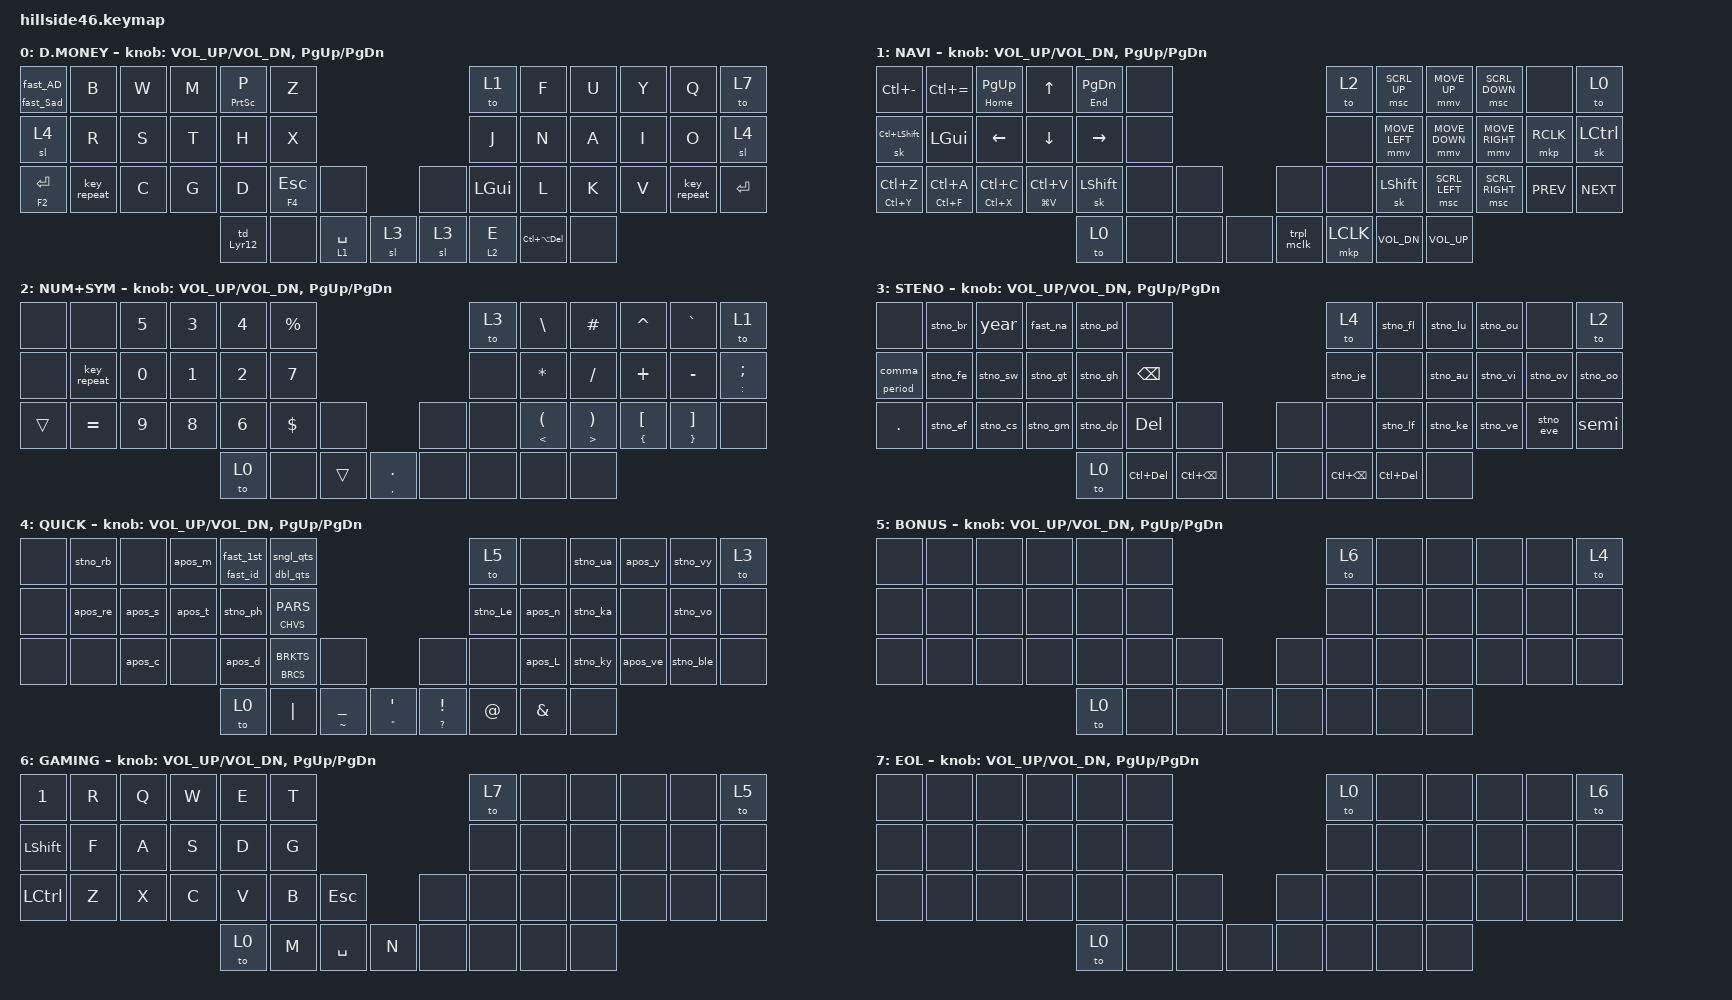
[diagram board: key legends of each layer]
/*
 * Copyright (c) 2021-2022 The ZMK Contributors
 *
 * SPDX-License-Identifier: MIT
 */

#define ZMK_POINTING_DEFAULT_MOVE_VAL 1200  // 600
#define ZMK_POINTING_DEFAULT_SCRL_VAL 25   // 10

#include <behaviors.dtsi>
#include <dt-bindings/zmk/keys.h>
#include <dt-bindings/zmk/pointing.h>

&mt {
    tapping-term-ms = <220>;
    flavor = "tap-preferred";
};

&caps_word { continue-list = <UNDERSCORE BACKSPACE DELETE MINUS N0 N1 N2 N3 N4 N5 N6 N7 N8 N9 PLUS>; };

&lt { tapping-term-ms = <220>; };

/ {
    combos {
        compatible = "zmk,combos";

        L_alt {
            bindings = <&sk LALT>;
            key-positions = <13 14>;
            layers = <0>;
            require-prior-idle-ms = <5>;
        };

        R_alt {
            bindings = <&sk LALT>;
            key-positions = <22 21>;
            layers = <0>;
            require-prior-idle-ms = <5>;
        };

        L_ctrl {
            bindings = <&sk LCTRL>;
            key-positions = <28 27>;
            layers = <0>;
            require-prior-idle-ms = <5>;
        };

        R_ctrl {
            bindings = <&sk LCTRL>;
            key-positions = <33 34>;
            layers = <0>;
            require-prior-idle-ms = <5>;
        };

        L_shft {
            bindings = <&sk LSHFT>;
            key-positions = <39 29>;
            layers = <0>;
            require-prior-idle-ms = <5>;
        };

        R_shft {
            bindings = <&sk LSHFT>;
            key-positions = <44 32>;
            layers = <0>;
            require-prior-idle-ms = <5>;
        };

        caps {
            bindings = <&caps_word>;
            key-positions = <41 42>;
            layers = <0>;
            require-prior-idle-ms = <5>;
        };

        print {
            bindings = <&kp LC(P)>;
            key-positions = <4 5>;
            layers = <0>;
            require-prior-idle-ms = <5>;
        };

        zoom_0 {
            bindings = <&kp LC(N0)>;
            key-positions = <0 1>;
            require-prior-idle-ms = <5>;
            layers = <1>;
        };

        mute {
            bindings = <&kp C_MUTE>;
            key-positions = <45 44>;
            layers = <1>;
            require-prior-idle-ms = <5>;
        };

        L_shft_ent {
            bindings = <&kp LS(ENTER)>;
            key-positions = <24 25>;
            layers = <0>;
            require-prior-idle-ms = <5>;
        };

        R_shft_ent {
            bindings = <&kp LS(ENTER)>;
            key-positions = <36 37>;
            layers = <0>;
            require-prior-idle-ms = <5>;
        };

        play_pause {
            bindings = <&kp C_PLAY_PAUSE>;
            key-positions = <36 37>;
            layers = <1>;
            require-prior-idle-ms = <5>;
        };

        L_bonus {
            bindings = <&sl 5>;
            key-positions = <30 40>;
            layers = <0>;
            require-prior-idle-ms = <5>;
        };

        R_bonus {
            bindings = <&sl 5>;
            key-positions = <43 31>;
            layers = <0>;
            require-prior-idle-ms = <5>;
        };

        dbl_mclk {
            bindings = <&dbl_mclk>;
            key-positions = <31 43>;
            layers = <1>;
            require-prior-idle-ms = <5>;
        };

        tab {
            bindings = <&mt LG(TAB) TAB>;
            key-positions = <1 2>;
            layers = <0>;
            require-prior-idle-ms = <5>;
        };
    };

    behaviors {
        act_dir: act_dir {
            compatible = "zmk,behavior-hold-tap";
            label = "ACT_DIR";
            bindings = <&fast_Sad>, <&fast_AD>;

            #binding-cells = <2>;
            tapping-term-ms = <180>;
            flavor = "tap-preferred";
        };

        id_1st: id_1st {
            compatible = "zmk,behavior-hold-tap";
            label = "ID_1ST";
            bindings = <&fast_id>, <&fast_1st>;

            #binding-cells = <2>;
            tapping-term-ms = <180>;
            flavor = "tap-preferred";
        };

        quotes: quotes {
            compatible = "zmk,behavior-hold-tap";
            label = "QUOTES";
            bindings = <&dbl_qts>, <&sngl_qts>;

            #binding-cells = <2>;
            tapping-term-ms = <179>;
            flavor = "tap-preferred";
        };

        par_chv: par_chv {
            compatible = "zmk,behavior-hold-tap";
            label = "PAR_CHV";
            bindings = <&CHVS>, <&PARS>;

            #binding-cells = <2>;
            tapping-term-ms = <179>;
            flavor = "tap-preferred";
        };

        brk_brc: brk_brc {
            compatible = "zmk,behavior-hold-tap";
            label = "BRK_BRC";
            bindings = <&BRCS>, <&BRKTS>;

            #binding-cells = <2>;
            tapping-term-ms = <180>;
            flavor = "tap-preferred";
        };

        cma_prd: cma_prd {
            compatible = "zmk,behavior-hold-tap";
            label = "CMA_PRD";
            bindings = <&period>, <&comma>;

            #binding-cells = <2>;
            tapping-term-ms = <220>;
            flavor = "tap-preferred";
        };

        td_Lyr12: td_Lyr12 {
            compatible = "zmk,behavior-tap-dance";
            label = "TD_LYR12";
            #binding-cells = <0>;
            bindings = <&to 2>, <&to 1>;
        };
    };

    macros {
        stno_ve: stno_ve {
            compatible = "zmk,behavior-macro";
            #binding-cells = <0>;
            bindings = <&kp V &kp E>;
            label = "STNO_VE";
        };

        stno_ou: stno_ou {
            compatible = "zmk,behavior-macro";
            #binding-cells = <0>;
            bindings = <&kp O &kp U>;
            label = "STNO_OU";
        };

        stno_ov: stno_ov {
            compatible = "zmk,behavior-macro";
            #binding-cells = <0>;
            bindings = <&kp O &kp V>;
            label = "STNO_OV";
        };

        stno_sw: stno_sw {
            compatible = "zmk,behavior-macro";
            #binding-cells = <0>;
            bindings = <&kp S &kp W>;
            label = "STNO_SW";
        };

        stno_cs: stno_cs {
            compatible = "zmk,behavior-macro";
            #binding-cells = <0>;
            bindings = <&kp C &kp S>;
            label = "STNO_CS";
        };

        stno_gm: stno_gm {
            compatible = "zmk,behavior-macro";
            #binding-cells = <0>;
            bindings = <&kp G &kp M>;
            label = "STNO_GM";
        };

        apos_s: apos_s {
            compatible = "zmk,behavior-macro";
            #binding-cells = <0>;
            bindings = <&kp SQT &kp S &kp SPACE>;
            label = "APOS_S";
        };

        apos_t: apos_t {
            compatible = "zmk,behavior-macro";
            #binding-cells = <0>;
            bindings = <&kp SQT &kp T &kp SPACE>;
            label = "APOS_T";
        };

        apos_d: apos_d {
            compatible = "zmk,behavior-macro";
            #binding-cells = <0>;
            bindings = <&kp SQT &kp D &kp SPACE>;
            label = "APOS_D";
        };

        apos_L: apos_L {
            compatible = "zmk,behavior-macro";
            #binding-cells = <0>;
            bindings = <&kp SQT &kp L &kp L &kp SPACE>;
            label = "APOS_L";
        };

        dbl_mclk: dbl_mclk {
            compatible = "zmk,behavior-macro";
            #binding-cells = <0>;
            bindings = <&mkp LCLK &mkp LCLK>;
            label = "DBL_MCLK";
        };

        apos_re: apo_r {
            compatible = "zmk,behavior-macro";
            #binding-cells = <0>;
            bindings = <&kp SQT &kp R &kp E &kp SPACE>;
            label = "APO_R";
        };

        apos_ve: apos_ve {
            compatible = "zmk,behavior-macro";
            #binding-cells = <0>;
            bindings = <&kp SQT &kp V &kp E &kp SPACE>;
            label = "APOS_VE";
        };

        apos_y: apos_y {
            compatible = "zmk,behavior-macro";
            #binding-cells = <0>;
            bindings = <&kp Y &kp SQT>;
            label = "APOS_Y";
        };

        apos_n: apos_n {
            compatible = "zmk,behavior-macro";
            #binding-cells = <0>;
            bindings = <&kp N &kp SQT>;
            label = "APOS_N";
        };

        year: year {
            compatible = "zmk,behavior-macro";
            #binding-cells = <0>;
            bindings = <&kp N2 &kp N0 &kp N2 &kp N6>;
            label = "YEAR";
        };

        fast_AD: fast_AD {
            compatible = "zmk,behavior-macro";
            #binding-cells = <0>;
            bindings = <&kp D &kp E &kp L &kp L &kp O &kp N &kp DOT &kp M &kp O &kp Y>;
            label = "FAST_AD";
        };

        fast_Sad: fast_Sad {
            compatible = "zmk,behavior-macro";
            #binding-cells = <0>;
            bindings = <&kp S &kp DOT &kp D &kp E &kp L &kp L &kp O &kp N &kp DOT &kp M &kp O &kp Y>;
            label = "FAST_SAD";
        };

        fast_1st: fast_1st {
            compatible = "zmk,behavior-macro";
            #binding-cells = <0>;
            bindings = <&kp D &kp E &kp L &kp L &kp O &kp N>;
            label = "FAST_1ST";
        };

        fast_id: fast_id {
            compatible = "zmk,behavior-macro";
            #binding-cells = <0>;
            bindings = <&kp N5 &kp N6 &kp N4 &kp N1 &kp N5 &kp LS(D) &kp LS(M)>;
            label = "FAST_ID";
        };

        apos_c: apos_c {
            compatible = "zmk,behavior-macro";
            #binding-cells = <0>;
            bindings = <&kp C &kp SQT>;
            label = "APOS_C";
        };

        fast_na: fast_na {
            compatible = "zmk,behavior-macro";
            #binding-cells = <0>;
            bindings = <&kp LS(N) &kp FSLH &kp LS(A)>;
            label = "FAST_NA";
        };

        PARS: PARS {
            compatible = "zmk,behavior-macro";
            #binding-cells = <0>;
            bindings = <&kp LPAR &kp RPAR &kp LEFT>;
            label = "PARS";
        };

        CHVS: CHVS {
            compatible = "zmk,behavior-macro";
            #binding-cells = <0>;
            bindings = <&kp LT &kp GT &kp LEFT>;
            label = "CHVS";
        };

        BRKTS: BRKTS {
            compatible = "zmk,behavior-macro";
            #binding-cells = <0>;
            bindings = <&kp LBKT &kp RBKT &kp LEFT>;
            label = "BRKTS";
        };

        BRCS: BRCS {
            compatible = "zmk,behavior-macro";
            #binding-cells = <0>;
            bindings = <&kp LBRC &kp RBRC &kp LEFT>;
            label = "BRCS";
        };

        sngl_qts: sngl_qts {
            compatible = "zmk,behavior-macro";
            #binding-cells = <0>;
            bindings = <&kp SQT &kp SQT &kp LEFT>;
            label = "SNGL_QTS";
        };

        dbl_qts: dbl_qts {
            compatible = "zmk,behavior-macro";
            #binding-cells = <0>;
            bindings = <&kp DQT &kp DQT &kp LEFT>;
            label = "DBL_QTS";
        };

        apos_m: apos_m {
            compatible = "zmk,behavior-macro";
            #binding-cells = <0>;
            bindings = <&kp SQT &kp M &kp SPACE>;
            label = "APOS_M";
        };

        stno_vi: stno_vi {
            compatible = "zmk,behavior-macro";
            #binding-cells = <0>;
            bindings = <&kp V &kp I>;
            label = "STNO_VI";
        };

        stno_fl: stno_fl {
            compatible = "zmk,behavior-macro";
            #binding-cells = <0>;
            bindings = <&kp F &kp L>;
            label = "STNO_FL";
        };

        stno_lf: stno_lf {
            compatible = "zmk,behavior-macro";
            #binding-cells = <0>;
            bindings = <&kp L &kp F>;
            label = "STNO_LF";
        };

        stno_gt: stno_gt {
            compatible = "zmk,behavior-macro";
            #binding-cells = <0>;
            bindings = <&kp G &kp T>;
            label = "STNO_GT";
        };

        stno_ef: stno_ef {
            compatible = "zmk,behavior-macro";
            #binding-cells = <0>;
            bindings = <&kp E &kp F>;
            label = "STNO_EF";
        };

        stno_fe: stno_fe {
            compatible = "zmk,behavior-macro";
            #binding-cells = <0>;
            bindings = <&kp F &kp E>;
            label = "STNO_FE";
        };

        stno_ka: stno_ka {
            compatible = "zmk,behavior-macro";
            #binding-cells = <0>;
            bindings = <&kp K &kp A>;
            label = "STNO_KA";
        };

        stno_lu: stno_lu {
            compatible = "zmk,behavior-macro";
            #binding-cells = <0>;
            bindings = <&kp L &kp U>;
            label = "STNO_LU";
        };

        stno_je: stno_je {
            compatible = "zmk,behavior-macro";
            #binding-cells = <0>;
            bindings = <&kp J &kp E>;
            label = "STNO_JE";
        };

        period: period {
            compatible = "zmk,behavior-macro";
            #binding-cells = <0>;
            bindings = <&kp DOT &kp SPACE &sk LSHFT>;
            label = "PERIOD";
        };

        comma: comma {
            compatible = "zmk,behavior-macro";
            #binding-cells = <0>;
            bindings = <&kp COMMA &kp SPACE>;
            label = "COMMA";
        };

        semi: semi {
            compatible = "zmk,behavior-macro";
            #binding-cells = <0>;
            bindings = <&kp SEMI &kp SPACE>;
            label = "SEMI";
        };

        stno_vo: stno_vo {
            compatible = "zmk,behavior-macro";
            #binding-cells = <0>;
            bindings = <&kp V &kp O>;
            label = "STNO_VO";
        };

        stno_ky: stno_ky {
            compatible = "zmk,behavior-macro";
            #binding-cells = <0>;
            bindings = <&kp K &kp Y>;
            label = "STNO_KY";
        };

        stno_vy: stno_vy {
            compatible = "zmk,behavior-macro";
            #binding-cells = <0>;
            bindings = <&kp V &kp Y>;
            label = "STNO_VY";
        };

        stno_pd: stno_pd {
            compatible = "zmk,behavior-macro";
            #binding-cells = <0>;
            bindings = <&kp P &kp D>;
            label = "STNO_PD";
        };

        stno_dp: stno_dp {
            compatible = "zmk,behavior-macro";
            #binding-cells = <0>;
            bindings = <&kp D &kp P>;
            label = "STNO_DP";
        };

        stno_ke: stno_ke {
            compatible = "zmk,behavior-macro";
            #binding-cells = <0>;
            bindings = <&kp K &kp E>;
            label = "STNO_KE";
        };

        trpl_mclk: trpl_mclk {
            compatible = "zmk,behavior-macro";
            #binding-cells = <0>;
            bindings = <&mkp LCLK &mkp LCLK &mkp LCLK>;
            label = "TRPL_MCLK";
        };

        stno_gh: stno_gh {
            compatible = "zmk,behavior-macro";
            #binding-cells = <0>;
            bindings = <&kp G &kp H>;
            label = "STNO_GH";
        };

        stno_ph: stno_ph {
            compatible = "zmk,behavior-macro";
            #binding-cells = <0>;
            bindings = <&kp P &kp H>;
            label = "STNO_PH";
        };

        stno_Le: stno_Le {
            compatible = "zmk,behavior-macro";
            #binding-cells = <0>;
            bindings = <&kp L &kp E>;
            label = "STNO_LE";
        };

        stno_eve: stno_eve {
            compatible = "zmk,behavior-macro";
            #binding-cells = <0>;
            bindings = <&kp E &kp V &kp E>;
            label = "STNO_EVE";
        };

        stno_rb: stno_rb {
            compatible = "zmk,behavior-macro";
            #binding-cells = <0>;
            bindings = <&kp R &kp B>;
            label = "STNO_RB";
        };

        stno_br: stno_br {
            compatible = "zmk,behavior-macro";
            #binding-cells = <0>;
            bindings = <&kp B &kp R>;
            label = "STNO_BR";
        };

        stno_oo: stno_oo {
            compatible = "zmk,behavior-macro";
            #binding-cells = <0>;
            bindings = <&kp O &kp O>;
            label = "STNO_OO";
        };

        stno_ble: stno_ble {
            compatible = "zmk,behavior-macro";
            #binding-cells = <0>;
            bindings = <&kp B &kp L &kp E>;
            label = "STNO_BLE";
        };

        stno_ua: stno_ua {
            compatible = "zmk,behavior-macro";
            #binding-cells = <0>;
            bindings = <&kp U &kp A>;
            label = "STNO_UA";
        };

        stno_au: stno_au {
            compatible = "zmk,behavior-macro";
            #binding-cells = <0>;
            bindings = <&kp A &kp U>;
            label = "STNO_AU";
        };
    };

    keymap {
        compatible = "zmk,keymap";

        ALPHA {
            /* QWERTY
 * -------------------------------------------------------------------------------------------------------------------------------------
 * | `     |   Q   |   W   |   E   |   R   |   T   |-----------------------------------|   Y   |   U   |   I   |   O   |   P   | BKSPC |
 * | TAB   |   A   |   S   |   D   |   F   |   G   |-----------------------------------|   H   |   J   |   K   |   L   |   ;   | ENTER |
 * | CTRL  |   Z   |   X   |   C   |   V   |   B   |  ESC  |-------------------|  CAPS |   N   |   M   |   ,   |   .   |   /   |   '   |
 *                                 |  GUI  |  ALT  |SK SHFT|  Nav  |---|  Sym  | SPACE |  ALT  |  GUI  |
 */

            display-name = "D.MONEY";
            bindings = <
&act_dir 0 0  &kp B        &kp W  &kp M  &mt PSCRN P  &kp Z                                             &to 1            &kp F  &kp U  &kp Y  &kp Q        &to 7
&sl 4         &kp R        &kp S  &kp T  &kp H        &kp X                                             &kp J            &kp N  &kp A  &kp I  &kp O        &sl 4
&mt F2 ENTER  &key_repeat  &kp C  &kp G  &kp D        &mt F4 ESC  &none                        &none    &kp LGUI         &kp L  &kp K  &kp V  &key_repeat  &kp ENTER
                                         &td_Lyr12    &none       &lt 1 SPACE  &sl 3    &sl 3  &lt 2 E  &kp LC(LA(DEL))  &none
            >;

            sensor-bindings = <&inc_dec_kp C_VOL_UP C_VOL_DN &inc_dec_kp PG_UP PG_DN>;
        };

        NAVI {
            display-name = "NAVI";
            bindings = <
&kp LC(MINUS)    &kp LC(EQUAL)    &mt HOME PG_UP   &kp UP           &mt END PG_DN  &none                                         &to 2         &msc SCRL_UP    &mmv MOVE_UP    &msc SCRL_DOWN   &none       &to 0
&sk LC(LSHFT)    &kp LGUI         &kp LEFT         &kp DOWN         &kp RIGHT      &none                                         &none         &mmv MOVE_LEFT  &mmv MOVE_DOWN  &mmv MOVE_RIGHT  &mkp RCLK   &sk LCTRL
&mt LC(Y) LC(Z)  &mt LC(F) LC(A)  &mt LC(X) LC(C)  &mt LG(V) LC(V)  &sk LSHFT      &none  &none                       &none      &none         &sk LSHFT       &msc SCRL_LEFT  &msc SCRL_RIGHT  &kp C_PREV  &kp C_NEXT
                                                                    &to 0          &none  &none  &none    &trpl_mclk  &mkp LCLK  &kp C_VOL_DN  &kp C_VOL_UP
            >;

            sensor-bindings =
                <&inc_dec_kp C_VOL_UP C_VOL_DN>,
                <&inc_dec_kp PG_UP PG_DN>;
        };

        NUM+SYM {
            display-name = "NUM+SYM";
            bindings = <
&none   &none        &kp N5  &kp N3  &kp N4  &kp PRCNT                                         &to 3  &kp BSLH                 &kp HASH                  &kp CARET                    &kp GRAVE                      &to 1
&none   &key_repeat  &kp N0  &kp N1  &kp N2  &kp N7                                            &none  &kp ASTRK                &kp FSLH                  &kp PLUS                     &kp MINUS                      &mt COLON SEMI
&trans  &kp EQUAL    &kp N9  &kp N8  &kp N6  &kp DLLR   &none                           &none  &none  &mt LT LEFT_PARENTHESIS  &mt GT RIGHT_PARENTHESIS  &mt LEFT_BRACE LEFT_BRACKET  &mt RIGHT_BRACE RIGHT_BRACKET  &none
                                     &to 0   &none      &trans  &mt COMMA DOT    &none  &none  &none  &none
            >;

            sensor-bindings =
                <&inc_dec_kp C_VOL_UP C_VOL_DN>,
                <&inc_dec_kp PG_UP PG_DN>;
        };

        STENO {
            display-name = "STENO";
            bindings = <
&none         &stno_br  &year     &fast_na  &stno_pd  &none                                                    &to 4        &stno_fl  &stno_lu  &stno_ou  &none      &to 2
&cma_prd 0 0  &stno_fe  &stno_sw  &stno_gt  &stno_gh  &kp BSPC                                                 &stno_je     &none     &stno_au  &stno_vi  &stno_ov   &stno_oo
&kp DOT       &stno_ef  &stno_cs  &stno_gm  &stno_dp  &kp DEL      &none                         &none         &none        &stno_lf  &stno_ke  &stno_ve  &stno_eve  &semi
                                            &to 0     &kp LC(DEL)  &kp LC(BSPC)  &none    &none  &kp LC(BSPC)  &kp LC(DEL)  &none
            >;

            sensor-bindings =
                <&inc_dec_kp C_VOL_UP C_VOL_DN>,
                <&inc_dec_kp PG_UP PG_DN>;
        };

        QUICK {
            display-name = "QUICK";
            bindings = <
&none  &stno_rb  &none    &apos_m  &id_1st 0 0  &quotes 0 0                                                                                 &to 5     &none    &stno_ua  &apos_y   &stno_vy   &to 3
&none  &apos_re  &apos_s  &apos_t  &stno_ph     &par_chv 0 0                                                                                &stno_Le  &apos_n  &stno_ka  &none     &stno_vo   &none
&none  &none     &apos_c  &none    &apos_d      &brk_brc 0 0  &none                                                                 &none   &none     &apos_L  &stno_ky  &apos_ve  &stno_ble  &none
                                   &to 0        &kp PIPE      &mt TILDE UNDER  &mt DOUBLE_QUOTES SINGLE_QUOTE    &mt QUESTION EXCL  &kp AT  &kp AMPS  &none
            >;

            sensor-bindings =
                <&inc_dec_kp C_VOL_UP C_VOL_DN>,
                <&inc_dec_kp PG_UP PG_DN>;
        };

        BONUS {
            display-name = "BONUS";
            bindings = <
&none  &none  &none  &none  &none  &none                                &to 6  &none  &none  &none  &none  &to 4
&none  &none  &none  &none  &none  &none                                &none  &none  &none  &none  &none  &none
&none  &none  &none  &none  &none  &none  &none                  &none  &none  &none  &none  &none  &none  &none
                            &to 0  &none  &none  &none    &none  &none  &none  &none
            >;

            sensor-bindings =
                <&inc_dec_kp C_VOL_UP C_VOL_DN>,
                <&inc_dec_kp PG_UP PG_DN>;
        };

        GAMING {
            display-name = "GAMING";
            bindings = <
&kp N1     &kp R  &kp Q  &kp W  &kp E  &kp T                                    &to 7  &none  &none  &none  &none  &to 5
&kp LSHFT  &kp F  &kp A  &kp S  &kp D  &kp G                                    &none  &none  &none  &none  &none  &none
&kp LCTRL  &kp Z  &kp X  &kp C  &kp V  &kp B  &kp ESC                    &none  &none  &none  &none  &none  &none  &none
                                &to 0  &kp M  &kp SPACE  &kp N    &none  &none  &none  &none
            >;

            sensor-bindings =
                <&inc_dec_kp C_VOL_UP C_VOL_DN>,
                <&inc_dec_kp PG_UP PG_DN>;
        };

        EOL {
            display-name = "EOL";
            bindings = <
&none  &none  &none  &none  &none  &none                                &to 0  &none  &none  &none  &none  &to 6
&none  &none  &none  &none  &none  &none                                &none  &none  &none  &none  &none  &none
&none  &none  &none  &none  &none  &none  &none                  &none  &none  &none  &none  &none  &none  &none
                            &to 0  &none  &none  &none    &none  &none  &none  &none
            >;

            sensor-bindings =
                <&inc_dec_kp C_VOL_UP C_VOL_DN>,
                <&inc_dec_kp PG_UP PG_DN>;
        };
    };
};
